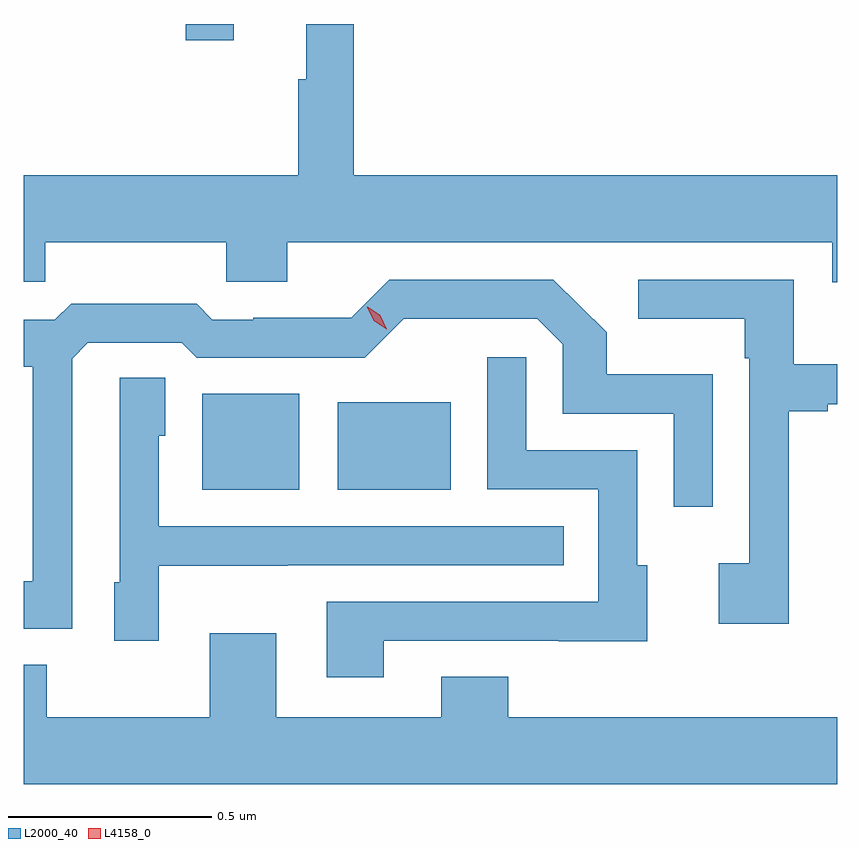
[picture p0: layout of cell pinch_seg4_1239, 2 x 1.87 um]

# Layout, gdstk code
import gdstk
lib = gdstk.Library(unit=1e-6, precision=1e-09)
def R(c, l, rs):  # rectangles x0, y0, x1, y1
    for r in rs: c.add(gdstk.rectangle(r[:2], r[2:], *l))
def P(c, l, *ps):  # polygons
    for p in ps: c.add(gdstk.Polygon(p, *l))
L2000_40 = (2000, 40)
L4158_0 = (4158, 0)

pinch_seg4_1239 = lib.new_cell('pinch_seg4_1239')
R(pinch_seg4_1239, L2000_40, [(371.555,820.187,371.794,820.423), (371.888,820.187,372.166,820.402), (371.515,821.292,371.633,821.332)])
P(pinch_seg4_1239, L2000_40, [(373.116,820.96),(371.927,820.96),(371.927,821.332),(371.81,821.332),(371.81,821.196),(371.791,821.196),(371.791,820.96),(371.116,820.96),(371.116,820.698),(371.169,820.698),(371.169,820.796),(371.614,820.796),(371.614,820.698),(371.764,820.698),(371.764,820.796),(373.103,820.796),(373.103,820.697),(373.116,820.697)],
  [(372.997,820.38),(373.093,820.38),(373.093,820.398),(373.116,820.398),(373.116,820.496),(373.009,820.496),(373.009,820.704),(372.627,820.704),(372.627,820.607),(372.888,820.607),(372.888,820.511),(372.9,820.511),(372.9,820.006),(372.825,820.006),(372.825,819.858),(372.997,819.858)],
  [(371.235,820.509),(371.274,820.548),(371.505,820.548),(371.541,820.512),(371.955,820.512),(372.05,820.607),(372.154,820.607),(372.154,820.608),(372.378,820.608),(372.441,820.545),(372.441,820.374),(372.714,820.374),(372.714,820.146),(372.81,820.146),(372.81,820.471),(372.549,820.471),(372.549,820.574),(372.418,820.704),(372.015,820.704),(371.921,820.61),(371.68,820.61),(371.68,820.605),(371.58,820.605),(371.541,820.645),(371.233,820.645),(371.193,820.605),(371.116,820.605),(371.116,820.49),(371.138,820.49),(371.138,819.962),(371.116,819.962),(371.116,819.846),(371.235,819.846)],
  [(372.001,819.816),(372.431,819.816),(372.431,819.815),(372.649,819.815),(372.649,820.002),(372.624,820.002),(372.624,820.284),(372.351,820.284),(372.351,820.513),(372.255,820.513),(372.255,820.188),(372.528,820.188),(372.528,819.912),(371.861,819.912),(371.861,819.726),(372.001,819.726)],
  [(371.448,820.001),(371.765,820.001),(371.765,820.002),(372.443,820.002),(372.443,820.098),(371.448,820.098),(371.448,820.32),(371.464,820.32),(371.464,820.463),(371.352,820.463),(371.352,819.96),(371.339,819.96),(371.339,819.816),(371.448,819.816)],
  [(373.116,819.628),(372.307,819.628),(372.307,819.727),(372.143,819.727),(372.143,819.628),(371.737,819.628),(371.737,819.835),(371.573,819.835),(371.573,819.628),(371.173,819.628),(371.173,819.757),(371.116,819.757),(371.116,819.464),(373.116,819.464)])
P(pinch_seg4_1239, L4158_0, [(372.008,820.582),(371.977,820.603),(371.961,820.636),(371.961,820.637),(371.962,820.637),(371.992,820.616),(372.008,820.582),(372.008,820.582)])

lib.write_gds('pinch_seg4_1239.gds')
